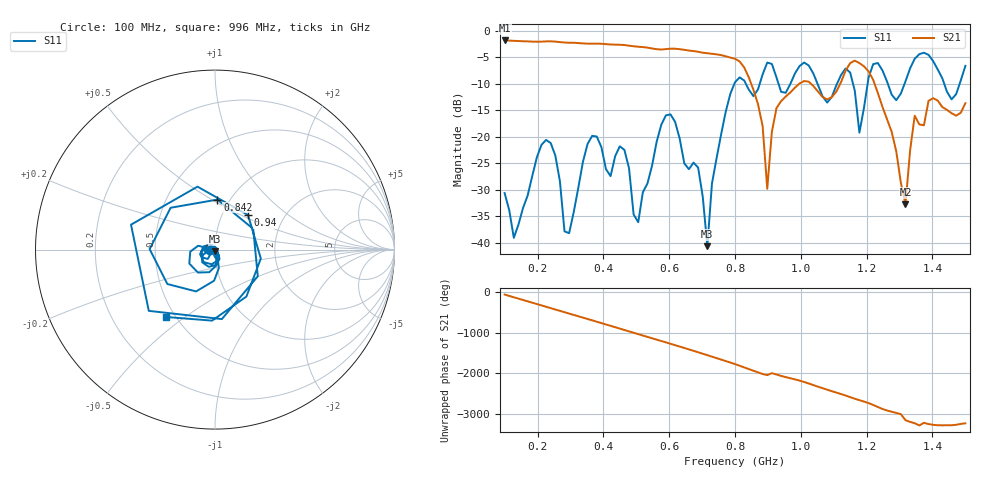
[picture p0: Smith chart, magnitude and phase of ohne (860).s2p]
! NanoVNA-App
! Date: 2025-09-25 14:27:29
! Start: 100MHz Stop: 1,5GHz Points: 101
! S-Parameter data: F S11 S21 S12 S22
# Hz S RI R 50
!  Frequency  S11_Real  S11_Imag  S21_Real  S21_Imag  S12_Real  S12_Imag  S22_Real  S22_Imag
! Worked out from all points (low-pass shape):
!   101 points, 100 MHz to 1.5 GHz, reference 50 ohm
!   highest |S21| = -1.79 dB at 100 MHz (marker M1); lowest = -32.8 dB at 1.318 GHz (marker M2)
!   |S21| within 3 dB of the highest: start of sweep to 772.1 MHz
!   lowest |S11| = -40.7 dB at 716 MHz (marker M3), VSWR 1.02, Z = 49.7 - j0.881 ohm
!   |S11| at or under -10 dB: start of sweep to 798 MHz; 833.1 MHz to 875.1 MHz (41.98 MHz wide, 4.92 % of centre); 1.051 GHz to 1.11 GHz (59.11 MHz wide, 5.47 % of centre) (the widest 3 of 7)
!   S12 and S22 are empty: the file has one direction only
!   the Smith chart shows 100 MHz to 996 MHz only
!   S11 on the Smith chart (normalised r, x): 100 MHz: 0.94, -0.01; 842 MHz: 0.88, +0.53; 940 MHz: 1.32, +0.55; 996 MHz: 0.44, -0.42
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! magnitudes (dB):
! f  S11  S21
! 100 MHz  -30.6  -1.8
! 128 MHz  -39.1  -1.9
! 226 MHz  -20.6  -2.0
! 296 MHz  -38.2  -2.2
! 338 MHz  -24.7  -2.4
! 464 MHz  -22.5  -2.7
! 506 MHz  -36.2  -3.0
! 576 MHz  -17.7  -3.5
! 688 MHz  -25.8  -3.9
! 716 MHz  -40.7  -4.2
! 800 MHz  -9.7  -5.3
! 842 MHz  -11.1  -8.8
! 898 MHz  -6.0  -29.8
! 940 MHz  -11.5  -13.3
! 996 MHz  -6.6  -9.9
! 1.038 GHz  -8.0  -10.4
! 1.178 GHz  -19.2  -6.1
! 1.22 GHz  -6.3  -9.3
! 1.276 GHz  -12.0  -19.0
! 1.318 GHz  -9.5  -32.8
! 1.346 GHz  -5.3  -16.0
! 1.5 GHz  -6.6  -13.7
